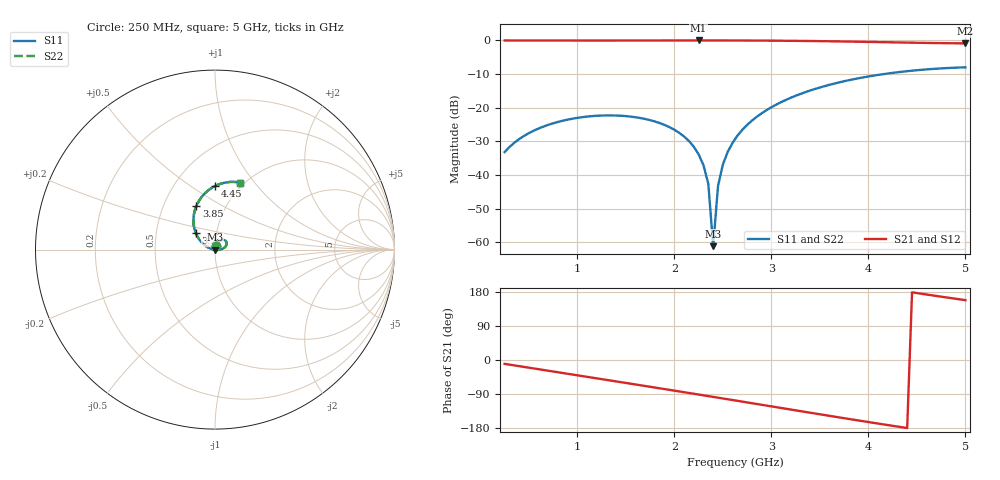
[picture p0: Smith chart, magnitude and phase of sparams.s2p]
! NobuRF kit-ex37-thru: ports 1 "p1", 2 "p2"; 2200 + 2200 steps
# GHz S RI R 50
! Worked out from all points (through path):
!   96 points, 250 MHz to 5 GHz, reference 50 ohm
!   highest |S21| = -0.01 dB at 2.25 GHz (marker M1); lowest = -0.9 dB at 5 GHz (marker M2)
!   group delay of S21, straight-line fit = 113 ps
!   lowest |S11| = -61.2 dB at 2.4 GHz (marker M3), VSWR 1.00, Z = 50 - j0.0823 ohm
!   |S11| at or under -10 dB: start of sweep to 4.16 GHz
!   |S22| runs from -61.2 to -8.0 dB; largest |S21 - S12| = 1.1e-08
!   S11 on the Smith chart (normalised r, x): 250 MHz: 1.01, +0.04; 3.2 GHz: 0.79, +0.15; 3.85 GHz: 0.73, +0.38; 4.45 GHz: 0.78, +0.63; 5 GHz: 0.96, +0.85
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0.25  0.00436 0.0214  0.9827 -0.1773  0.9827 -0.1773  0.00436 0.0214
0.4  0.00985 0.0327  0.9585 -0.2793  0.9585 -0.2793  0.00986 0.0327
0.55  0.0174 0.0421  0.9235 -0.3784  0.9235 -0.3784  0.0174 0.0421
1.05  0.0484 0.0537  0.7361 -0.6724  0.7361 -0.6724  0.0484 0.0537
1.5  0.0651 0.0371  0.4903 -0.8685  0.4903 -0.8685  0.0651 0.0371
1.85  0.057 0.0153  0.2626 -0.9633  0.2626 -0.9633  0.057 0.0153
2.1  0.0372 0.00269  0.0875 -0.9953  0.0875 -0.9953  0.0372 0.00269
2.25  0.0202 -0.00112  -0.0201 -0.9991  -0.0201 -0.9991  0.0202 -0.00112
2.3  0.0139 -0.00153  -0.0561 -0.9977  -0.0561 -0.9977  0.0139 -0.00153
2.35  0.00722 -0.00144  -0.092 -0.995  -0.092 -0.995  0.00722 -0.00144
2.4  0.000295 -0.000822  -0.1279 -0.9909  -0.1279 -0.9909  0.000294 -0.000822
2.45  -0.00685 0.000345  -0.1637 -0.9855  -0.1637 -0.9855  -0.00685 0.000345
2.5  -0.0142 0.00209  -0.1992 -0.9787  -0.1992 -0.9787  -0.0142 0.00209
2.55  -0.0216 0.00444  -0.2345 -0.9705  -0.2345 -0.9705  -0.0216 0.00444
2.65  -0.0367 0.011  -0.3042 -0.9502  -0.3042 -0.9502  -0.0367 0.011
2.9  -0.0731 0.0386  -0.4699 -0.8763  -0.4699 -0.8763  -0.0731 0.0386
3.2  -0.1067 0.0913  -0.6444 -0.7477  -0.6444 -0.7477  -0.1067 0.0913
3.45  -0.1196 0.1475  -0.7622 -0.6131  -0.7622 -0.6131  -0.1196 0.1475
3.85  -0.1031 0.2446  -0.8872 -0.3648  -0.8872 -0.3648  -0.1031 0.2446
4.25  -0.0417 0.3267  -0.9313 -0.1036  -0.9313 -0.1036  -0.0417 0.3267
4.45  0.00195 0.355  -0.9259 0.0232  -0.9259 0.0232  0.00195 0.355
5  0.1402 0.3726  -0.8381 0.3401  -0.8381 0.3401  0.1402 0.3726
